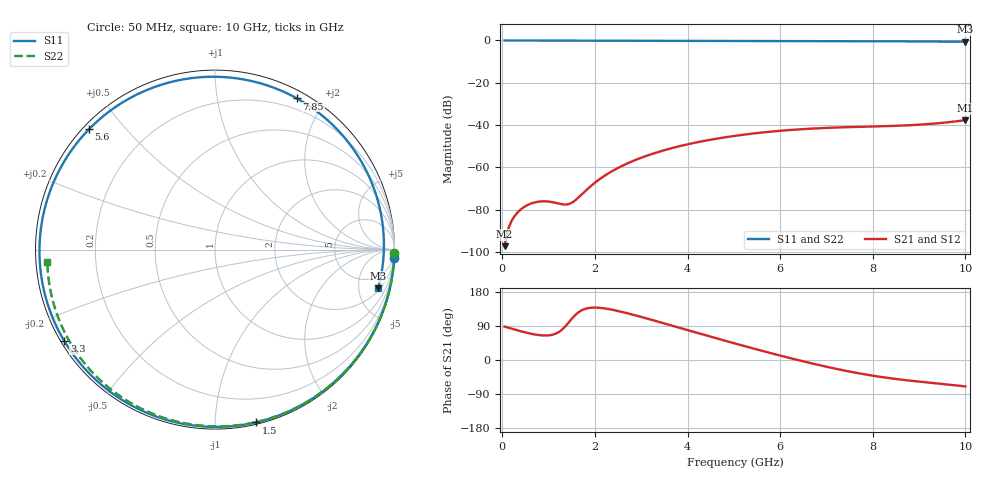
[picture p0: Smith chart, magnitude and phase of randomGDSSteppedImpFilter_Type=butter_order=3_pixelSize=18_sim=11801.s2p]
! freq	dB(S11)	phase(S11)	dB(S12)	phase(S12)
!  dB(S21)	phase(S21)	dB(S22)	phase(S22)
!S-par simulation data
#  GHz  S  DB  R 50
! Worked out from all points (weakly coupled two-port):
!   200 points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, 50 MHz to 10 GHz, reference 50 ohm
!   highest |S21| = -37.68 dB at 10 GHz (marker M1); lowest = -97.2 dB at 50 MHz (marker M2)
!   lowest |S11| = -0.6 dB at 10 GHz (marker M3), VSWR 29.22, Z = 116 - j391 ohm
!   |S11| at or under -10 dB: nowhere
!   |S22| runs from -0.6 to 0.0 dB; largest |S21 - S12| = 0
!   S11 on the Smith chart (normalised r, x): 50 MHz: 0, -42; 1.5 GHz: 0.01, -1.26; 3.3 GHz: 0.01, -0.28; 5.6 GHz: 0.02, +0.40; 7.85 GHz: 0.08, +1.68; 10 GHz: 2.31, -7.83
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0.05  -0.00 -2.7  -97.21 88.2  -97.21 88.2  -0.00 -1.0
0.4  -0.03 -21.5  -79.84 75.9  -79.84 75.9  -0.01 -8.2
0.6  -0.04 -32.1  -77.24 69.9  -77.24 69.9  -0.02 -12.3
0.85  -0.06 -45.0  -76.03 65.1  -76.03 65.1  -0.02 -17.4
1.35  -0.08 -69.7  -77.53 87.2  -77.53 87.2  -0.03 -27.5
1.5  -0.09 -76.7  -76.68 108.8  -76.68 108.8  -0.04 -30.5
1.75  -0.10 -88.0  -72.03 133.2  -72.03 133.2  -0.05 -35.4
2.05  -0.12 -101.0  -66.38 138.1  -66.38 138.1  -0.05 -41.3
2.4  -0.13 -115.3  -61.40 132.0  -61.40 132.0  -0.06 -48.1
2.85  -0.14 -132.5  -56.70 118.6  -56.70 118.6  -0.07 -56.6
3.3  -0.16 -148.7  -53.16 103.4  -53.16 103.4  -0.09 -65.0
3.4  -0.16 -152.2  -52.49 99.9  -52.49 99.9  -0.09 -66.9
4.2  -0.19 -178.9  -48.15 71.9  -48.15 71.9  -0.11 -81.3
5.05  -0.23 153.9  -44.99 42.7  -44.99 42.7  -0.15 -95.9
5.6  -0.26 136.3  -43.52 24.5  -43.52 24.5  -0.17 -105.1
6.15  -0.28 118.6  -42.42 7.0  -42.42 7.0  -0.20 -114.2
6.7  -0.31 100.6  -41.63 -9.4  -41.63 -9.4  -0.24 -123.0
7.3  -0.34 80.4  -41.07 -25.6  -41.07 -25.6  -0.28 -132.5
7.85  -0.37 61.5  -40.74 -38.3  -40.74 -38.3  -0.33 -141.2
8.35  -0.40 44.1  -40.45 -47.7  -40.45 -47.7  -0.38 -149.1
9.2  -0.48 14.3  -39.50 -59.5  -39.50 -59.5  -0.47 -162.7
10  -0.59 -13.4  -37.68 -69.8  -37.68 -69.8  -0.57 -175.8
